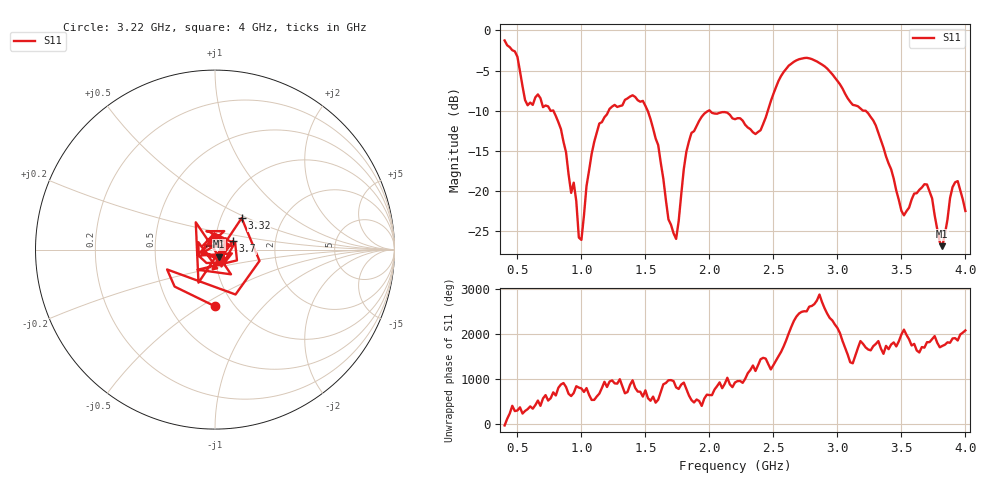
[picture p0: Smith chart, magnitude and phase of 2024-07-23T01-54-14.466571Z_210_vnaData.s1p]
!Created with skrf (http://scikit-rf.org).
# Hz S RI R 50.0
!freq ReS11 ImS11
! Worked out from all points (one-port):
!   181 points, 400 MHz to 4 GHz, reference 50 ohm
!   lowest |S11| = -26.9 dB at 3.82 GHz (marker M1), VSWR 1.09, Z = 52.3 - j4.03 ohm
!   |S11| at or under -10 dB: 1.517 GHz to 1.994 GHz (476.9 MHz wide, 27.2 % of centre); 2.003 GHz to 2.457 GHz (453.5 MHz wide, 20.3 % of centre); 3.22 GHz to end of sweep (the widest 3 of 5)
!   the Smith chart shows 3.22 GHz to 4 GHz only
!   S11 on the Smith chart (normalised r, x): 3.22 GHz: 0.82, -0.58; 3.32 GHz: 1.25, +0.47; 3.7 GHz: 1.22, +0.11; 4 GHz: 1.03, -0.15
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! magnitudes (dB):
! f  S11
! 400 MHz  -1.2
! 500 MHz  -3.3
! 580 MHz  -9.3
! 660 MHz  -8.0
! 860 MHz  -13.9
! 1 GHz  -26.1
! 1.04 GHz  -19.4
! 1.14 GHz  -11.6
! 1.3 GHz  -9.4
! 1.48 GHz  -8.8
! 1.6 GHz  -14.3
! 1.68 GHz  -23.5
! 1.74 GHz  -26.0
! 1.76 GHz  -23.7
! 1.86 GHz  -12.8
! 2.2 GHz  -11.1
! 2.4 GHz  -12.4
! 2.66 GHz  -3.9
! 2.9 GHz  -4.5
! 3.1 GHz  -8.9
! 3.22 GHz  -10.0
! 3.32 GHz  -12.8
! 3.5 GHz  -22.5
! 3.56 GHz  -22.1
! 3.7 GHz  -19.2
! 3.82 GHz  -26.9
! 3.92 GHz  -18.9
! 4 GHz  -22.5
